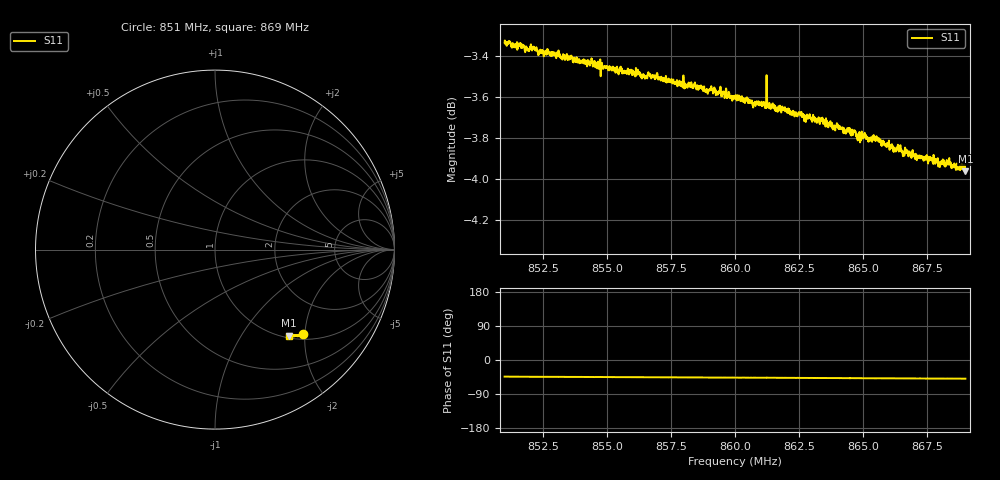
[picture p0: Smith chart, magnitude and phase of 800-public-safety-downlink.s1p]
! Calibrated averaged scanner-service zoom
# Hz S RI R 50
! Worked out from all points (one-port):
!   2001 points, 851 MHz to 869 MHz, reference 50 ohm
!   lowest |S11| = -4.0 dB at 869 MHz (marker M1), VSWR 4.46, Z = 52.1 - j83.6 ohm
!   |S11| at or under -10 dB: nowhere
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8.51e8  0.4906 -0.4724
8.51639e8  0.4875 -0.4728
8.51873e8  0.487 -0.473
8.52062e8  0.4862 -0.4737
8.5325e8  0.4817 -0.4735
8.53565e8  0.4801 -0.4751
8.53925e8  0.478 -0.4741
8.54438e8  0.4766 -0.4747
8.54762e8  0.4762 -0.4744
8.555e8  0.4732 -0.475
8.56895e8  0.4684 -0.4765
8.5775e8  0.4638 -0.4761
8.6e8  0.4547 -0.479
8.60756e8  0.4502 -0.4804
8.61296e8  0.4488 -0.4798
8.61638e8  0.4486 -0.4796
8.6225e8  0.4453 -0.4806
8.62574e8  0.4439 -0.4816
8.62763e8  0.4406 -0.4799
8.62898e8  0.4416 -0.4819
8.645e8  0.4342 -0.4816
8.64842e8  0.4339 -0.4806
8.65598e8  0.4291 -0.4813
8.6675e8  0.4228 -0.4809
8.67119e8  0.4211 -0.4807
8.6738e8  0.4211 -0.4806
8.68352e8  0.4164 -0.481
8.69e8  0.4137 -0.4802
